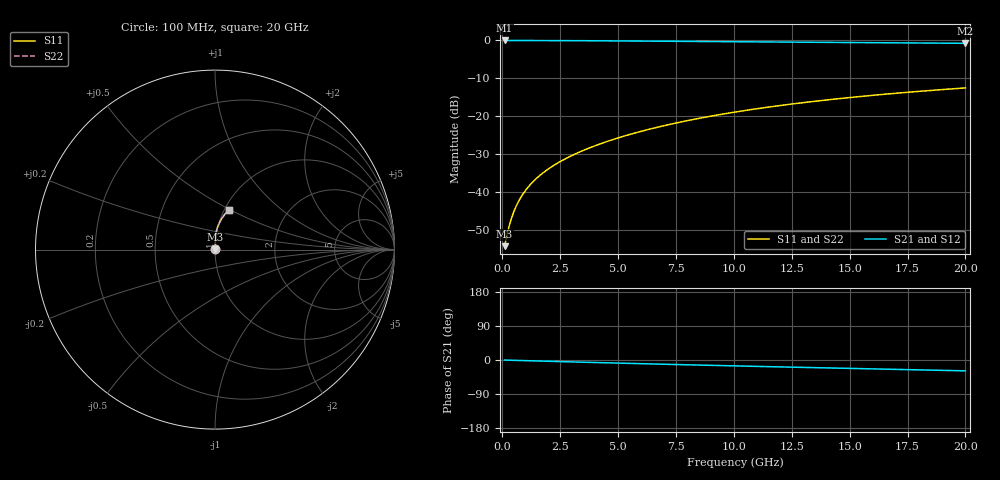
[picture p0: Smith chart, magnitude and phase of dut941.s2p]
! Touchstone file exported from HFSS 2024.1.0
!  File:  C:/UserFiles/LocalFiles/RDL_TSV_Batchsim/temp_RDL_bottom_941_1779941781.aedt
!  Generated:  12:18:27 PM May 28, 2026
!  Design:  RDL_bottom
!  Project:  temp_RDL_bottom_941_1779941781
!  Setup:  Setup1
!  Solution:  Sweep
! Variables:
!  dtsv = 10.80580581um
!  hbump = 3um
!  htsv = 81.61um
!  ldown = 435.98um
!  lrdl = 100um
!  p = 40
!  p1 = 43.22um
!  rhole = 1um
!  t = 450um
!  tdown = 4.9um
!  trdl = 3.915915916um
!  wdown = 22.97um
!  wrdl = 20um
# GHz S MA R 50.000000
! Terminal data exported
! Port[1] = RDL1_T1
! Port[2] = RDL1_T2
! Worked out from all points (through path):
!   200 points, 100 MHz to 20 GHz, reference 50 ohm
!   highest |S21| = -0.01 dB at 100 MHz (marker M1); lowest = -0.8 dB at 20 GHz (marker M2)
!   group delay of S21, straight-line fit = 3.92 ps
!   lowest |S11| = -54.3 dB at 100 MHz (marker M3), VSWR 1.00, Z = 50.2 + j0.115 ohm
!   |S11| at or under -10 dB: start of sweep to end of sweep
!   |S22| runs from -54.3 to -12.5 dB; largest |S21 - S12| = 3.7e-15
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0.1  0.001928 36.4  0.9984 -0.2  0.9984 -0.2  0.001928 36.4
! Gamma 0 0 0 0
! Port Impedance 50 0 50 0
0.2  0.002689 56.3  0.9983 -0.4  0.9983 -0.4  0.002689 56.3
0.3  0.00359 66.1  0.9982 -0.5  0.9982 -0.5  0.003591 66.1
0.4  0.004543 71.5  0.998 -0.7  0.998 -0.7  0.004545 71.5
0.5  0.005519 74.8  0.9979 -0.9  0.9979 -0.9  0.005521 74.8
0.6  0.006505 77.0  0.9978 -1.0  0.9978 -1.0  0.006507 77.0
0.8  0.008486 79.7  0.9976 -1.4  0.9976 -1.4  0.008487 79.7
1.1  0.01144 81.9  0.9972 -1.9  0.9972 -1.9  0.01145 81.9
1.5  0.01536 83.5  0.9965 -2.6  0.9965 -2.6  0.01536 83.5
1.8  0.01828 84.4  0.9958 -3.1  0.9958 -3.1  0.01828 84.4
2.1  0.02122 85.2  0.9951 -3.6  0.9951 -3.6  0.02122 85.2
2.7  0.02718 86.4  0.9934 -4.6  0.9934 -4.6  0.02718 86.4
3.5  0.03538 87.4  0.9907 -5.9  0.9907 -5.9  0.03539 87.4
4.2  0.04284 88.0  0.988 -7.0  0.988 -7.0  0.04284 88.0
5  0.05169 88.3  0.9846 -8.2  0.9846 -8.2  0.05169 88.3
6.8  0.07274 87.8  0.9763 -11.0  0.9763 -11.0  0.07275 87.9
8.4  0.09246 86.6  0.9686 -13.3  0.9686 -13.3  0.09248 86.6
10.1  0.114 84.7  0.9605 -15.6  0.9605 -15.6  0.114 84.7
11.7  0.1345 82.5  0.953 -17.8  0.953 -17.8  0.1345 82.6
13.4  0.1561 80.1  0.9451 -20.1  0.9451 -20.1  0.1562 80.1
16.7  0.1972 75.3  0.9301 -24.4  0.9301 -24.4  0.1972 75.3
20  0.2361 70.4  0.9154 -28.6  0.9154 -28.6  0.2361 70.4
